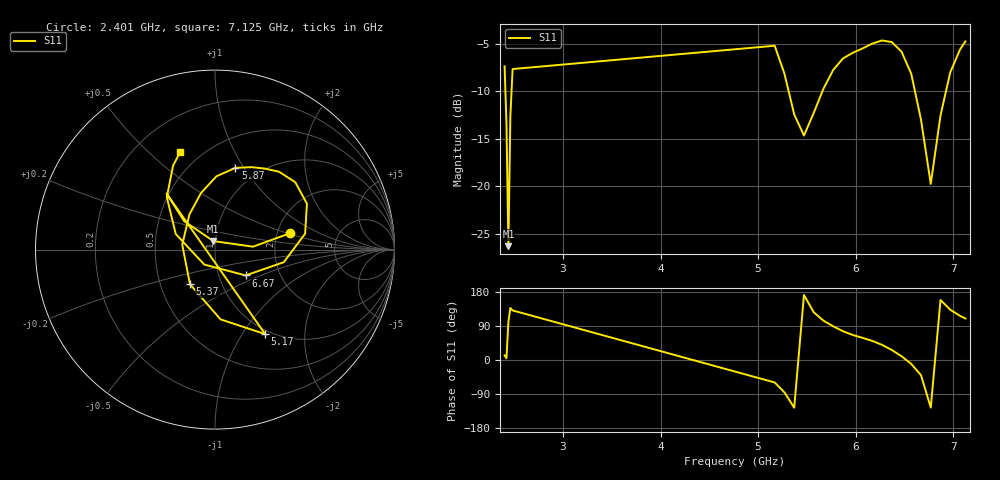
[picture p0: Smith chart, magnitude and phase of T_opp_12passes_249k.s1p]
! Generated by Hertzon (EMerge FEM)
# HZ S RI R 50
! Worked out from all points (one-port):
!   26 points, 2.401 GHz to 7.125 GHz, reference 50 ohm
!   lowest |S11| = -26.3 dB at 2.44 GHz (marker M1), VSWR 1.10, Z = 48.9 + j4.64 ohm
!   |S11| at or under -10 dB: 2.409 GHz to 2.472 GHz (63.1 MHz wide, 2.59 % of centre); 5.312 GHz to 5.66 GHz (347.8 MHz wide, 6.34 % of centre); 6.607 GHz to 6.927 GHz (319.1 MHz wide, 4.72 % of centre)
!   S11 on the Smith chart (normalised r, x): 2.401 GHz: 2.35, +0.52; 5.17 GHz: 0.95, -1.27; 5.37 GHz: 0.71, -0.29; 5.87 GHz: 0.79, +0.92; 6.67 GHz: 1.34, -0.41; 7.125 GHz: 0.39, +0.63
2.401e9  0.4169 0.0907
2.42e9  0.212 0.0163
2.44e9  -0.00907 0.0474
2.46e9  -0.1713 0.158
2.483e9  -0.2699 0.3125
5.17e9  0.2796 -0.4709
5.27e9  0.0309 -0.3887
5.37e9  -0.1395 -0.193
5.47e9  -0.1824 0.0271
5.57e9  -0.1425 0.1961
5.67e9  -0.0774 0.3161
5.77e9  0.00823 0.4085
5.87e9  0.1139 0.4556
5.97e9  0.2044 0.4592
6.07e9  0.2773 0.4516
6.17e9  0.3576 0.4335
6.27e9  0.4473 0.3753
6.37e9  0.5123 0.2556
6.47e9  0.5022 0.0886
6.57e9  0.3831 -0.0703
6.67e9  0.1707 -0.1439
6.77e9  -0.0596 -0.0834
6.87e9  -0.2187 0.0871
6.97e9  -0.2685 0.2922
7.07e9  -0.2334 0.4682
7.125e9  -0.1939 0.5437
